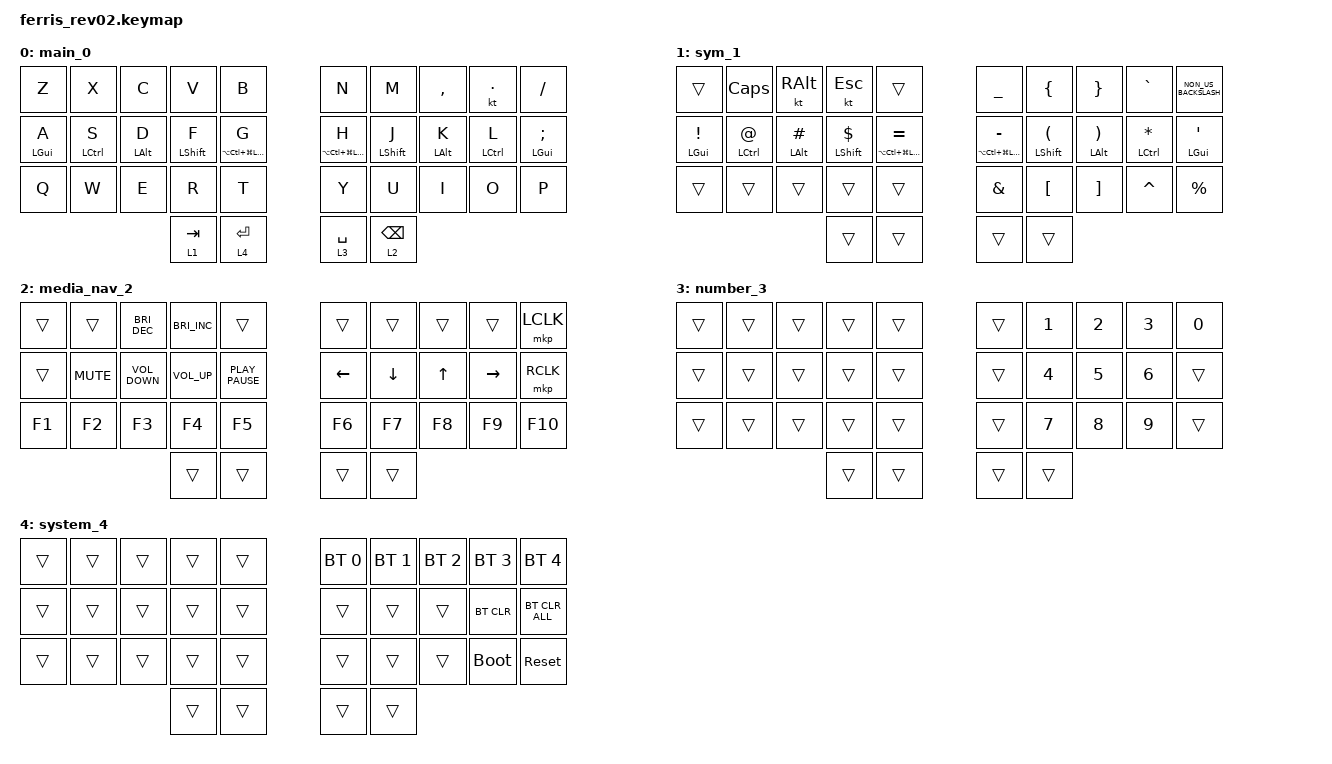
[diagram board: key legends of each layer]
/*
 * Copyright (c) 2020 The ZMK Contributors
 *
 * SPDX-License-Identifier: MIT
 */

#include <behaviors.dtsi>
#include <dt-bindings/zmk/bt.h>
#include <dt-bindings/zmk/keys.h>
#include <dt-bindings/zmk/keys.h>
#include <dt-bindings/zmk/mouse.h>

&mt { tapping-term-ms = <180>; };

/ {
    keymap {
        compatible = "zmk,keymap";

        main_0 {
            bindings = <
&kp Z           &kp X        &kp C           &kp V             &kp B                           &kp N                     &kp M             &kp COMMA       &kt PERIOD   &kp SLASH
&mt LEFT_GUI A  &mt LCTRL S  &mt LEFT_ALT D  &mt LEFT_SHIFT F  &mt LA(LC(LG(LEFT_SHIFT))) G    &mt LA(LC(LG(LSHIFT))) H  &mt LEFT_SHIFT J  &mt LEFT_ALT K  &mt LCTRL L  &mt LEFT_GUI SEMICOLON
&kp Q           &kp W        &kp E           &kp R             &kp T                           &kp Y                     &kp U             &kp I           &kp O        &kp P
                                             &lt 1 TAB         &lt 4 RET                       &lt 3 SPACE               &lt 2 BACKSPACE
            >;
        };

        sym_1 {
            bindings = <
&trans                    &kp CLCK           &kt RIGHT_ALT      &kt ESCAPE             &trans                              &kp UNDERSCORE                    &kp LEFT_BRACE                   &kp RIGHT_BRACE                 &kp GRAVE           &kp NON_US_BACKSLASH
&mt LEFT_GUI EXCLAMATION  &mt LCTRL AT_SIGN  &mt LEFT_ALT HASH  &mt LEFT_SHIFT DOLLAR  &mt LA(LC(LG(LEFT_SHIFT))) EQUAL    &mt LA(LC(LG(LEFT_SHIFT))) MINUS  &mt LEFT_SHIFT LEFT_PARENTHESIS  &mt LEFT_ALT RIGHT_PARENTHESIS  &mt LCTRL ASTERISK  &mt LEFT_GUI SINGLE_QUOTE
&trans                    &trans             &trans             &trans                 &trans                              &kp AMPERSAND                     &kp LEFT_BRACKET                 &kp RIGHT_BRACKET               &kp CARET           &kp PERCENT
                                                                &trans                 &trans                              &trans                            &trans
            >;
        };

        media_nav_2 {
            bindings = <
&trans  &trans      &kp C_BRIGHTNESS_DEC  &kp C_BRIGHTNESS_INC  &trans              &trans          &trans    &trans        &trans     &mkp LCLK
&trans  &kp K_MUTE  &kp C_VOLUME_DOWN     &kp C_VOLUME_UP       &kp K_PLAY_PAUSE    &kp LEFT_ARROW  &kp DOWN  &kp UP_ARROW  &kp RIGHT  &mkp RCLK
&kp F1  &kp F2      &kp F3                &kp F4                &kp F5              &kp F6          &kp F7    &kp F8        &kp F9     &kp F10
                                          &trans                &trans              &trans          &trans
            >;
        };

        number_3 {
            bindings = <
&trans  &trans  &trans  &trans  &trans    &trans  &kp NUMBER_1  &kp NUMBER_2  &kp NUMBER_3  &kp NUMBER_0
&trans  &trans  &trans  &trans  &trans    &trans  &kp NUMBER_4  &kp NUMBER_5  &kp NUMBER_6  &trans
&trans  &trans  &trans  &trans  &trans    &trans  &kp NUMBER_7  &kp NUMBER_8  &kp NUMBER_9  &trans
                        &trans  &trans    &trans  &trans
            >;
        };

        system_4 {
            bindings = <
&trans  &trans  &trans  &trans  &trans    &bt BT_SEL 0  &bt BT_SEL 1  &bt BT_SEL 2  &bt BT_SEL 3  &bt BT_SEL 4
&trans  &trans  &trans  &trans  &trans    &trans        &trans        &trans        &bt BT_CLR    &bt BT_CLR_ALL
&trans  &trans  &trans  &trans  &trans    &trans        &trans        &trans        &bootloader   &sys_reset
                        &trans  &trans    &trans        &trans
            >;
        };
    };
};
